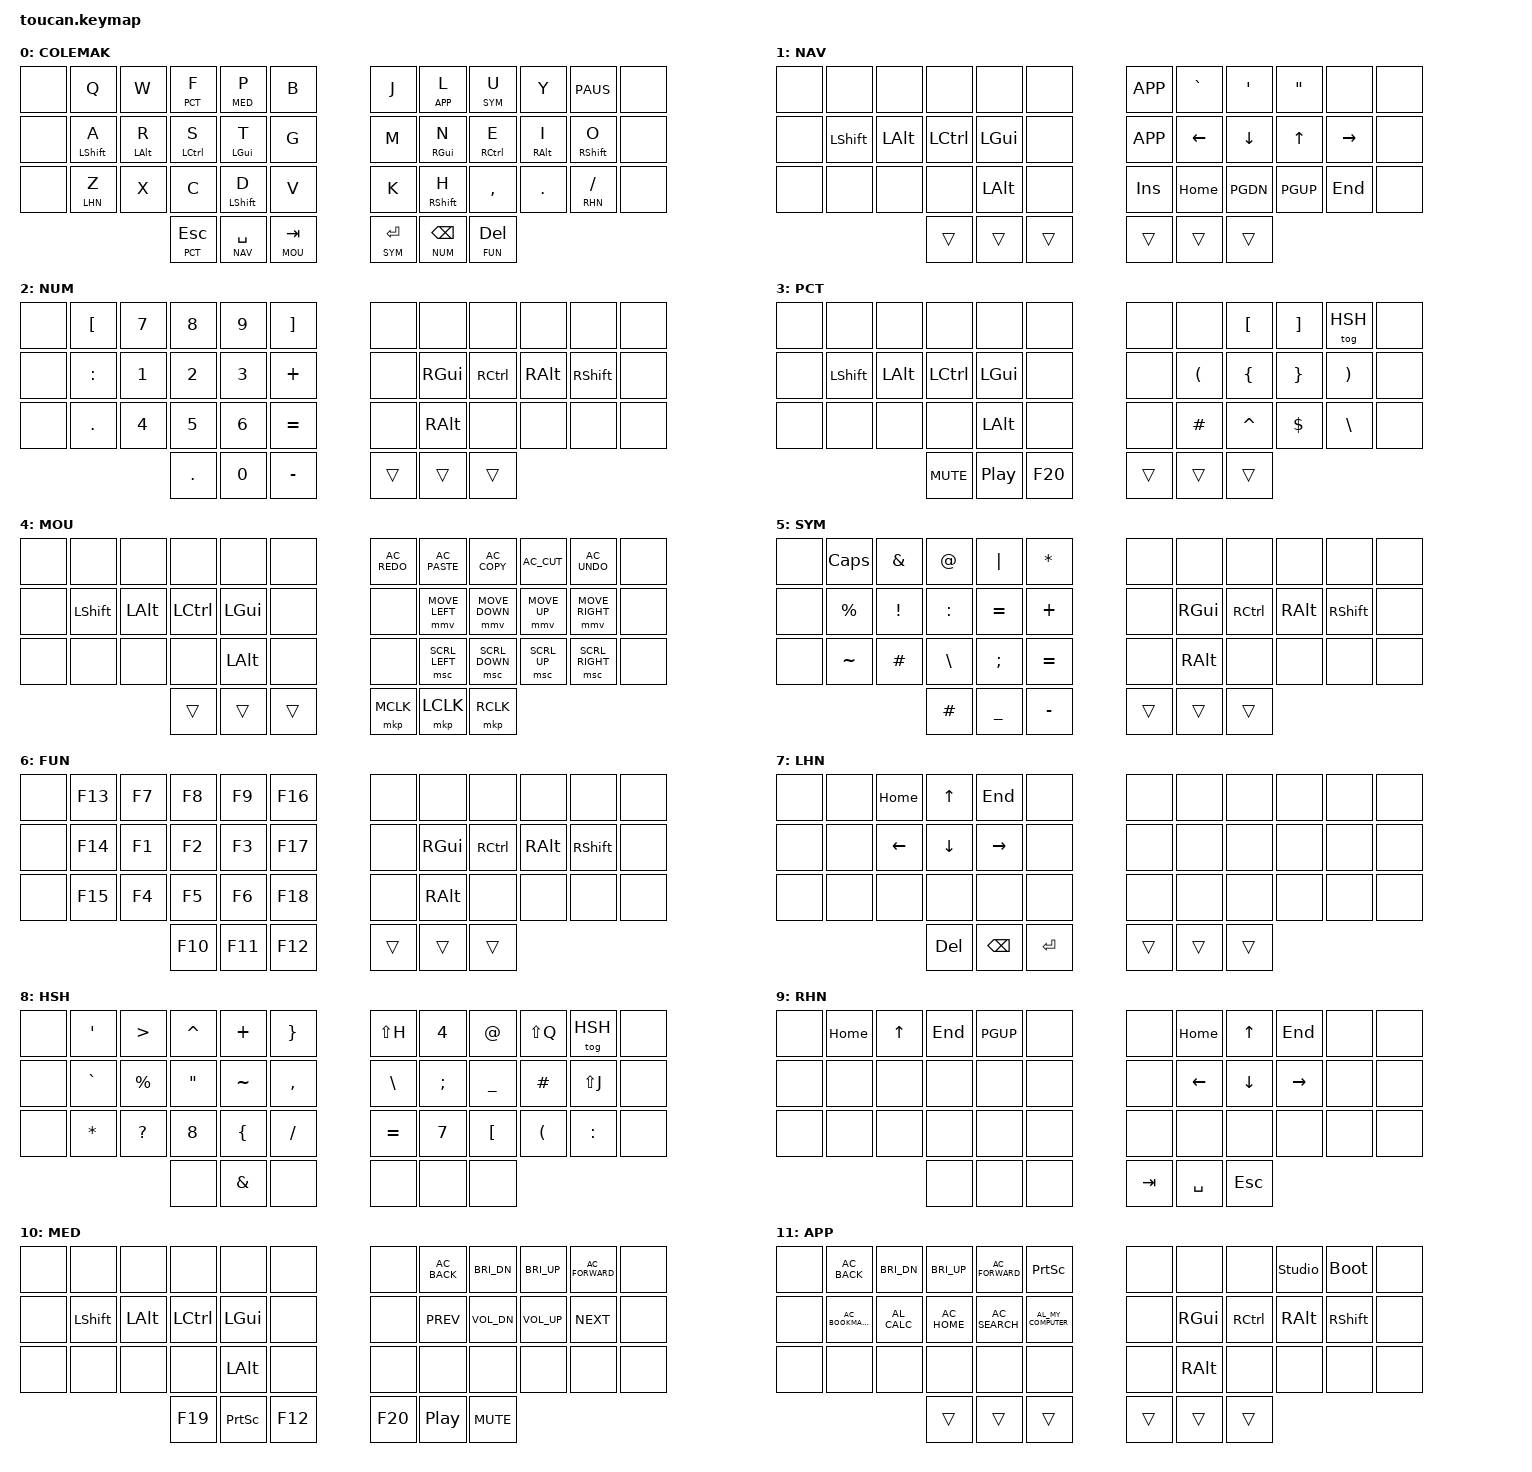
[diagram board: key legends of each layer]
/*
 * Personal keymap: port of the Piantor Pro QMK Miryoku-style layout
 * (36 effective keys, Colemak-DH base, 12 layers) to the Toucan2.
 *
 * Source: nix-config home/config/qmk/beekeeb/piantor_pro/miryoku/
 *
 * Layer indices are load-bearing: toucan-layout.dtsi maps trackpad
 * touch to &mo 4, so MOU must stay at index 4. HSH (the only toggled
 * layer) sits at index 8 and is toggled with &tog HSH.
 *
 * Thumb binding order follows the Toucan2 physical layout
 * (left: away-from-gap, center, toward-gap | right: toward-gap,
 * center, away-from-gap) and the Piantor Pro physical positions
 * from its QMK keyboard.json. The source keymap's TK_LI/TK_LO/
 * TK_RO/TK_RI macro names are hand-relative (inner = curl toward
 * the palm, outer = stretch away from the hand) and agree with
 * those positions: TK_LI is the Esc key, TK_LO the Tab key,
 * TK_RO the Enter key, TK_RI the Del key.
 */

#include <behaviors.dtsi>
#include <dt-bindings/zmk/keys.h>
#include <dt-bindings/zmk/pointing.h>

#define BASE 0
#define NAV  1
#define NUM  2
#define PCT  3
#define MOU  4
#define SYM  5
#define FUN  6
#define LHN  7
#define HSH  8
#define RHN  9
#define MED  10
#define APP  11

/ {
    behaviors {
        /*
         * Home row mods. QMK baseline: TAPPING_TERM 175,
         * PERMISSIVE_HOLD, TAPPING_FORCE_HOLD. require-prior-idle-ms
         * replaces the process_record_user roll corrections of the
         * QMK keymap (first-iteration values; tuning deferred).
         */
        hm: home_row_mods {
            compatible = "zmk,behavior-hold-tap";
            #binding-cells = <2>;
            tapping-term-ms = <175>;
            quick-tap-ms = <0>;
            flavor = "balanced";
            require-prior-idle-ms = <125>;
            bindings = <&kp>, <&kp>;
        };
    };

    keymap {
        compatible = "zmk,keymap";

        base {
            display-name = "COLEMAK";
            bindings = <
                &none    &kp Q           &kp W    &lt PCT F        &lt MED P         &kp B             &kp J    &lt APP L         &lt SYM U         &kp Y      &kp PAUS         &none
                &none    &hm LSHIFT A    &hm LALT R    &hm LCTRL S      &hm LGUI T         &kp G             &kp M    &hm RGUI N        &hm RCTRL E       &hm RALT I    &hm RSHIFT O     &none
                &none    &lt LHN Z       &kp X    &kp C            &hm LSHIFT D       &kp V             &kp K    &hm RSHIFT H      &kp COMMA         &kp DOT    &lt RHN FSLH     &none
                                                  &lt PCT ESC       &lt NAV SPACE      &lt MOU TAB       &lt SYM RET   &lt NUM BSPC   &lt FUN DEL
            >;
        };

        nav {
            display-name = "NAV";
            bindings = <
                &none    &none           &none         &none            &none              &none             &kp K_APP    &kp GRAVE    &kp SQT      &kp DQT    &none            &none
                &none    &kp LSHIFT      &kp LALT      &kp LCTRL        &kp LGUI           &none             &kp K_APP    &kp LEFT     &kp DOWN     &kp UP     &kp RIGHT        &none
                &none    &none           &none         &none            &kp LALT           &none             &kp INS      &kp HOME     &kp PGDN     &kp PGUP   &kp END          &none
                                                  &trans            &trans             &trans             &trans       &trans       &trans
            >;
        };

        num {
            display-name = "NUM";
            bindings = <
                &none    &kp LBKT        &kp N7        &kp N8           &kp N9             &kp RBKT          &none        &none        &none        &none      &none            &none
                &none    &kp COLN        &kp N1        &kp N2           &kp N3             &kp PLUS          &none        &kp RGUI     &kp RCTRL    &kp RALT   &kp RSHIFT       &none
                &none    &kp DOT         &kp N4        &kp N5           &kp N6             &kp EQUAL         &none        &kp RALT     &none        &none      &none            &none
                                                  &kp DOT           &kp N0             &kp MINUS          &trans       &trans       &trans
            >;
        };

        pct {
            display-name = "PCT";
            bindings = <
                &none    &none           &none         &none            &none              &none             &none        &none        &kp LBKT     &kp RBKT   &tog HSH         &none
                &none    &kp LSHIFT      &kp LALT      &kp LCTRL        &kp LGUI           &none             &none        &kp LPAR     &kp LBRC     &kp RBRC   &kp RPAR         &none
                &none    &none           &none         &none            &kp LALT           &none             &none        &kp HASH     &kp CARET    &kp DLLR   &kp BSLH         &none
                                                  &kp C_MUTE        &kp C_PP           &kp F20            &trans       &trans       &trans
            >;
        };

        mou {
            display-name = "MOU";
            bindings = <
                &none    &none           &none         &none            &none              &none             &kp C_AC_REDO    &kp C_AC_PASTE    &kp C_AC_COPY    &kp C_AC_CUT     &kp C_AC_UNDO    &none
                &none    &kp LSHIFT      &kp LALT      &kp LCTRL        &kp LGUI           &none             &none            &mmv MOVE_LEFT    &mmv MOVE_DOWN   &mmv MOVE_UP     &mmv MOVE_RIGHT   &none
                &none    &none           &none         &none            &kp LALT           &none             &none            &msc SCRL_LEFT    &msc SCRL_DOWN   &msc SCRL_UP     &msc SCRL_RIGHT   &none
                                                  &trans            &trans             &trans             &mkp MCLK        &mkp LCLK         &mkp RCLK
            >;
        };

        sym {
            display-name = "SYM";
            bindings = <
                &none    &kp CAPS        &kp AMPS      &kp AT           &kp PIPE           &kp STAR          &none        &none        &none        &none      &none            &none
                &none    &kp PRCNT       &kp EXCL      &kp COLN         &kp EQUAL          &kp PLUS          &none        &kp RGUI     &kp RCTRL    &kp RALT   &kp RSHIFT       &none
                &none    &kp TILDE       &kp HASH      &kp BSLH         &kp SEMI           &kp EQUAL         &none        &kp RALT     &none        &none      &none            &none
                                                  &kp HASH          &kp UNDER          &kp MINUS          &trans       &trans       &trans
            >;
        };

        fun {
            display-name = "FUN";
            bindings = <
                &none    &kp F13         &kp F7        &kp F8           &kp F9             &kp F16           &none        &none        &none        &none      &none            &none
                &none    &kp F14         &kp F1        &kp F2           &kp F3             &kp F17           &none        &kp RGUI     &kp RCTRL    &kp RALT   &kp RSHIFT       &none
                &none    &kp F15         &kp F4        &kp F5           &kp F6             &kp F18           &none        &kp RALT     &none        &none      &none            &none
                                                  &kp F10           &kp F11            &kp F12            &trans       &trans       &trans
            >;
        };

        lhn {
            display-name = "LHN";
            bindings = <
                &none    &none           &kp HOME      &kp UP           &kp END            &none             &none        &none        &none        &none      &none            &none
                &none    &none           &kp LEFT      &kp DOWN         &kp RIGHT          &none             &none        &none        &none        &none      &none            &none
                &none    &none           &none         &none            &none              &none             &none        &none        &none        &none      &none            &none
                                                  &kp DEL            &kp BSPC           &kp RET            &trans       &trans       &trans
            >;
        };

        hsh {
            display-name = "HSH";
            bindings = <
                &none    &kp SQT         &kp GT        &kp CARET        &kp PLUS           &kp RBRC          &kp LS(H)    &kp N4      &kp AT        &kp LS(Q)  &tog HSH         &none
                &none    &kp GRAVE       &kp PRCNT     &kp DQT          &kp TILDE          &kp COMMA         &kp BSLH     &kp SEMI    &kp UNDER    &kp HASH  &kp LS(J)        &none
                &none    &kp STAR        &kp QMARK     &kp N8           &kp LBRC           &kp FSLH          &kp EQUAL    &kp N7      &kp LBKT     &kp LPAR  &kp COLN         &none
                                                  &none              &kp AMPS           &none              &none        &none       &none
            >;
        };

        rhn {
            display-name = "RHN";
            bindings = <
                &none    &kp HOME        &kp UP        &kp END          &kp PGUP           &none             &none        &kp HOME    &kp UP       &kp END    &none            &none
                &none    &none           &none         &none            &none              &none             &none        &kp LEFT    &kp DOWN     &kp RIGHT  &none            &none
                &none    &none           &none         &none            &none              &none             &none        &none       &none        &none      &none            &none
                                                  &none              &none              &none              &kp TAB       &kp SPACE   &kp ESC
            >;
        };

        med {
            display-name = "MED";
            bindings = <
                &none    &none           &none         &none            &none              &none             &none        &kp C_AC_BACK    &kp C_BRI_DN     &kp C_BRI_UP     &kp C_AC_FORWARD    &none
                &none    &kp LSHIFT      &kp LALT      &kp LCTRL        &kp LGUI           &none             &none        &kp C_PREV       &kp C_VOL_DN     &kp C_VOL_UP     &kp C_NEXT          &none
                &none    &none           &none         &none            &kp LALT           &none             &none        &none            &none            &none            &none               &none
                                                  &kp F19            &kp PSCRN          &kp F12            &kp F20         &kp C_PP         &kp C_MUTE
            >;
        };

        app {
            display-name = "APP";
            bindings = <
                &none    &kp C_AC_BACK       &kp C_BRI_DN    &kp C_BRI_UP      &kp C_AC_FORWARD      &kp PSCRN          &none            &none            &none            &studio_unlock    &bootloader      &none
                &none    &kp C_AC_BOOKMARKS  &kp C_AL_CALC    &kp C_AC_HOME     &kp C_AC_SEARCH       &kp C_AL_MY_COMPUTER   &none        &kp RGUI         &kp RCTRL        &kp RALT          &kp RSHIFT       &none
                &none    &none               &none           &none             &none                 &none              &none            &kp RALT         &none            &none            &none            &none
                                                  &trans                &trans               &trans               &trans           &trans           &trans
            >;
        };
    };
};

/* Same timing baseline for the built-in layer-tap. &label amend blocks
 * are only valid at the top level of a devicetree, outside any node.
 */
&lt {
    tapping-term-ms = <175>;
    quick-tap-ms = <0>;
    flavor = "tap-preferred";
    require-prior-idle-ms = <125>;
};
